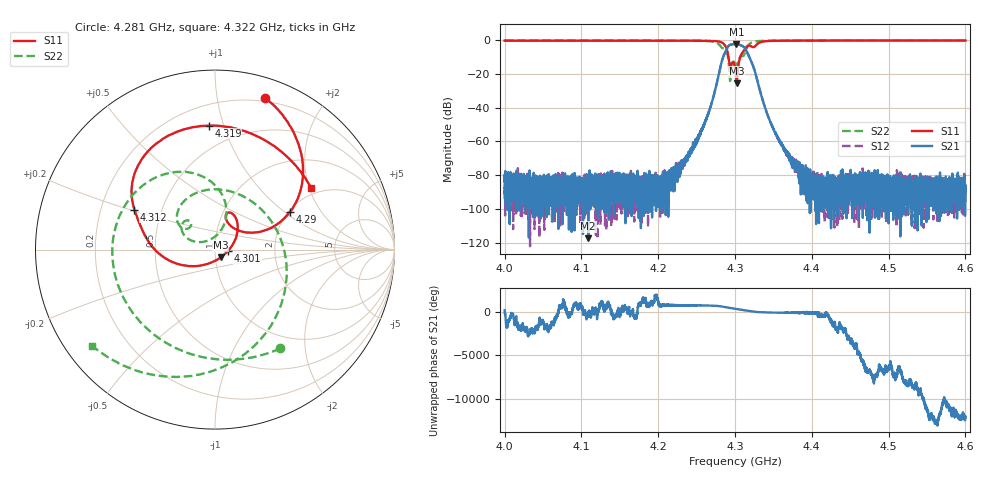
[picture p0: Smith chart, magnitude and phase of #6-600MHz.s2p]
#  HZ  S  DB  R  50.00
! Rohde & Schwarz ZVA67 4Ports - Version 3.30 - 1305.7002k04 SN: 101038
! Date: 2022-07-22 05:32:06
! Measurements: S11 S21 S12 S22
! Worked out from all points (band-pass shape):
!   6246 points, 4 GHz to 4.6 GHz, reference 50 ohm
!   highest |S21| = -2.29 dB at 4.302 GHz (marker M1); lowest = -117.3 dB at 4.109 GHz (marker M2)
!   |S21| within 3 dB of the highest: 4.289 GHz to 4.314 GHz (24.77 MHz wide, 0.576 % of centre)
!   lowest |S11| = -25.4 dB at 4.302 GHz (marker M3), VSWR 1.11, Z = 53.1 - j4.59 ohm
!   |S11| at or under -10 dB: 4.291497 GHz to 4.306752 GHz (15.26 MHz wide, 0.355 % of centre)
!   |S22| runs from -24.2 to -0.1 dB; largest |S21 - S12| = 0.018
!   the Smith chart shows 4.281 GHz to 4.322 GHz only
!   S11 on the Smith chart (normalised r, x): 4.281 GHz: 0.17, +1.37; 4.29 GHz: 2.04, +1.11; 4.301 GHz: 1.16, -0.02; 4.312 GHz: 0.35, +0.21; 4.319 GHz: 0.34, +0.89; 4.322 GHz: 1.78, +2.06
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4e9  -0.27 147.7  -83.92 170.9  -93.97 -115.1  -0.21 147.1
4.100016e9  -0.27 138.5  -89.10 -82.5  -88.26 165.9  -0.21 137.2
4.108951e9  -0.27 137.5  -117.33 -60.2  -90.25 169.6  -0.21 136.2
4.200032e9  -0.29 125.6  -84.23 120.8  -83.86 42.5  -0.24 121.5
4.226165e9  -0.29 119.6  -77.39 7.3  -76.82 26.9  -0.24 113.0
4.26546e9  -0.40 100.0  -43.32 -10.6  -43.11 -10.9  -0.55 74.4
4.276701e9  -0.58 84.3  -24.70 -52.9  -24.76 -51.8  -1.61 17.9
4.281313e9  -1.02 71.7  -15.25 -97.7  -15.30 -96.4  -3.61 -56.6
4.28554e9  -2.24 54.5  -8.78 -160.1  -8.83 -158.9  -4.83 -172.4
4.290056e9  -6.57 26.8  -4.37 130.5  -4.42 131.7  -8.10 96.0
4.300048e9  -16.51 35.0  -2.36 -18.2  -2.41 -17.0  -13.54 131.7
4.301489e9  -22.70 -5.3  -2.31 -37.7  -2.34 -36.4  -14.50 135.6
4.301777e9  -24.27 -22.5  -2.29 -41.6  -2.34 -40.3  -14.56 137.5
4.302162e9  -25.43 -53.7  -2.31 -46.8  -2.35 -45.5  -14.52 140.1
4.311769e9  -5.99 153.7  -4.09 -179.2  -4.15 -178.0  -8.82 15.5
4.318687e9  -3.20 92.9  -10.02 85.1  -10.06 86.3  -2.23 -115.1
4.322338e9  -3.93 32.7  -13.75 41.7  -13.82 42.9  -1.22 -141.8
4.328871e9  -2.33 -99.7  -23.55 -30.8  -23.57 -29.6  -0.56 -167.6
4.339343e9  -0.62 -169.7  -40.28 -79.9  -40.31 -79.0  -0.33 172.5
4.400064e9  -0.22 140.9  -94.34 -89.4  -84.89 -120.6  -0.21 141.3
4.50008e9  -0.18 124.9  -83.74 138.1  -85.80 95.4  -0.18 125.5
4.6e9  -0.18 114.8  -86.64 123.6  -90.68 -67.1  -0.15 115.5
